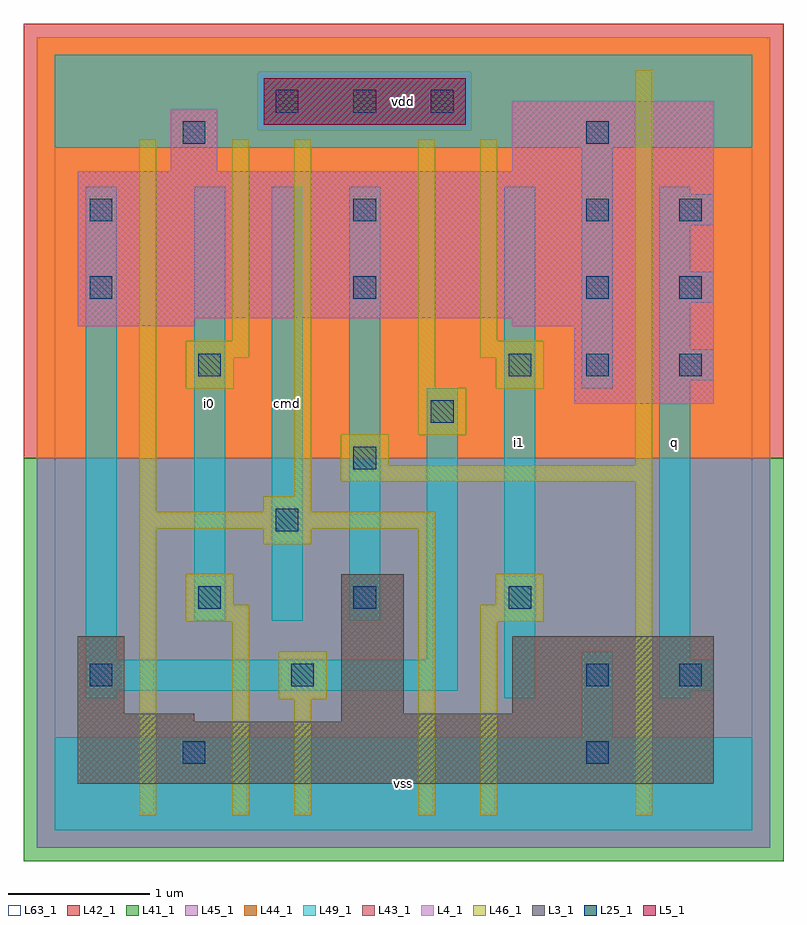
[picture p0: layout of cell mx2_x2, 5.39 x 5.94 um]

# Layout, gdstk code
import gdstk
lib = gdstk.Library(unit=1e-6, precision=1e-09)
def R(c, l, rs):  # rectangles x0, y0, x1, y1
    for r in rs: c.add(gdstk.rectangle(r[:2], r[2:], *l))
def A(c, l, x, y, w, h, nx, ny, dx, dy):  # array of equal rectangles
    R(c, l, [(x+i*dx, y+j*dy, x+i*dx+w, y+j*dy+h) for i in range(nx) for j in range(ny)])
L3_1 = (3, 1)
L4_1 = (4, 1)
L5_1 = (5, 1)
L25_1 = (25, 1)
L41_1 = (41, 1)
L42_1 = (42, 1)
L43_1 = (43, 1)
L44_1 = (44, 1)
L45_1 = (45, 1)
L46_1 = (46, 1)
L49_1 = (49, 1)
L63_1 = (63, 1)

mx2_x2 = lib.new_cell('mx2_x2')
R(mx2_x2, L3_1, [(0.165,0.33,4.675,0.77), (0.165,0.77,0.99,0.825), (2.035,0.77,4.675,0.825), (0.165,0.825,0.495,1.375), (2.035,0.825,2.475,1.815), (3.245,0.825,4.675,1.375)])
R(mx2_x2, L4_1, [(3.685,3.025,4.675,3.575), (0.165,3.575,0.99,3.63), (3.245,3.575,4.675,3.63), (0.165,3.63,4.675,4.675), (0.825,4.675,1.155,5.115), (3.245,4.675,4.675,5.17)])
R(mx2_x2, L5_1, [(1.485,5.005,2.915,5.335)])
A(mx2_x2, L25_1, 1.02, 1.57, 0.16, 0.16, 3, 1, 1.1, 0)
A(mx2_x2, L25_1, 3.77, 3.22, 0.16, 0.16, 1, 4, 0, 0.55)
A(mx2_x2, L25_1, 4.43, 3.22, 0.16, 0.16, 1, 3, 0, 0.55)
A(mx2_x2, L25_1, 1.57, 5.09, 0.16, 0.16, 3, 1, 0.55, 0)
R(mx2_x2, L25_1, [(0.91,0.47,1.07,0.63), (3.77,0.47,3.93,0.63), (0.25,1.02,0.41,1.18), (1.68,1.02,1.84,1.18), (3.77,1.02,3.93,1.18), (4.43,1.02,4.59,1.18), (1.57,2.12,1.73,2.28), (2.12,2.56,2.28,2.72), (2.67,2.89,2.83,3.05), (1.02,3.22,1.18,3.38), (3.22,3.22,3.38,3.38), (0.25,3.77,0.41,3.93), (2.12,3.77,2.28,3.93), (0.25,4.32,0.41,4.48), (2.12,4.32,2.28,4.48), (0.91,4.87,1.07,5.03)])
R(mx2_x2, L41_1, [(-0.22,-0.22,5.17,2.64)])
R(mx2_x2, L42_1, [(-0.22,2.64,5.17,5.72)])
R(mx2_x2, L43_1, [(0.165,0.33,4.675,0.77), (0.165,0.77,0.99,0.825), (2.035,0.77,4.675,0.825), (0.165,0.825,0.495,1.375), (2.035,0.825,2.475,1.815), (3.245,0.825,4.675,1.375), (3.685,3.025,4.675,3.575), (0.165,3.575,0.99,3.63), (3.245,3.575,4.675,3.63), (0.165,3.63,4.675,4.675), (0.825,4.675,1.155,5.115), (3.245,4.675,4.675,5.17), (1.485,5.005,2.915,5.335)])
R(mx2_x2, L44_1, [(-0.125,2.64,5.075,4.965), (-0.125,4.965,1.445,5.375), (2.955,4.965,5.075,5.375), (-0.125,5.375,5.075,5.625)])
R(mx2_x2, L45_1, [(-0.125,-0.125,5.075,2.64), (1.445,4.965,2.955,5.375)])
R(mx2_x2, L46_1, [(0.6,0.105,0.72,2.14), (1.26,0.105,1.38,1.48), (1.7,0.105,1.82,0.93), (2.58,0.105,2.7,2.14), (3.02,0.105,3.14,1.48), (4.12,0.105,4.24,2.47), (1.59,0.93,1.93,1.27), (0.93,1.48,1.38,1.6), (3.02,1.48,3.47,1.6), (0.93,1.6,1.27,1.82), (3.13,1.6,3.47,1.82), (1.48,2.03,1.82,2.14), (0.6,2.14,2.7,2.26), (0.6,2.26,0.72,4.9), (1.48,2.26,1.82,2.37), (1.7,2.37,1.82,4.9), (2.03,2.47,4.24,2.59), (2.03,2.59,2.37,2.81), (4.12,2.59,4.24,5.395), (2.58,2.8,2.92,3.14), (0.93,3.13,1.27,3.35), (3.13,3.13,3.47,3.35), (2.58,3.14,2.7,4.9), (0.93,3.35,1.38,3.47), (3.02,3.35,3.47,3.47), (1.26,3.47,1.38,4.9), (3.02,3.47,3.14,4.9)])
A(mx2_x2, L49_1, 0.99, 1.485, 0.22, 3.08, 3, 1, 0.55, 0)
A(mx2_x2, L49_1, 4.29, 3.19, 0.385, 0.22, 1, 3, 0, 0.55)
R(mx2_x2, L49_1, [(0,0,4.95,0.66), (3.74,0.66,3.96,1.265), (0.22,0.935,0.44,0.99), (3.19,0.935,3.41,4.565), (4.29,0.935,4.51,0.99), (0.22,0.99,2.86,1.21), (4.29,0.99,4.675,1.21), (0.22,1.21,0.44,4.565), (2.64,1.21,2.86,3.135), (4.29,1.21,4.51,3.19), (3.74,3.135,3.96,4.84), (4.29,3.41,4.51,3.74), (4.29,3.96,4.51,4.29), (4.29,4.51,4.51,4.565), (0,4.84,4.95,5.5)])
R(mx2_x2, L63_1, [(0,0,4.95,5.5)])
mx2_x2.add(gdstk.Label('i0', (1.1,3.025), layer=49, texttype=1))
mx2_x2.add(gdstk.Label('cmd', (1.65,3.025), layer=49, texttype=1))
mx2_x2.add(gdstk.Label('vss', (2.475,0.33), layer=49, texttype=1))
mx2_x2.add(gdstk.Label('i1', (3.3,2.75), layer=49, texttype=1))
mx2_x2.add(gdstk.Label('vdd', (2.475,5.17), layer=49, texttype=1))
mx2_x2.add(gdstk.Label('q', (4.4,2.75), layer=49, texttype=1))

lib.write_gds('mx2_x2.gds')
